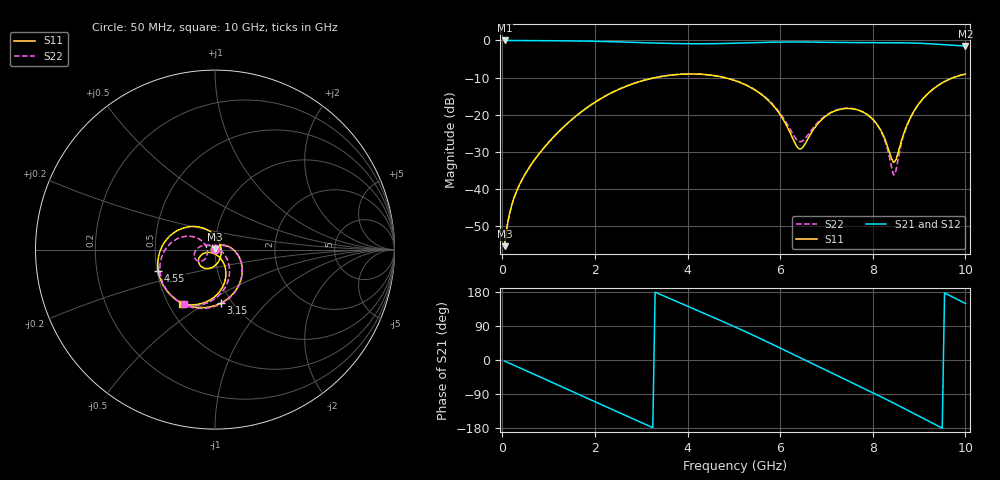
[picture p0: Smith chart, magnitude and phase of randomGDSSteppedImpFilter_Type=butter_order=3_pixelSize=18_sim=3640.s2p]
! freq	dB(S11)	phase(S11)	dB(S12)	phase(S12)
!  dB(S21)	phase(S21)	dB(S22)	phase(S22)
!S-par simulation data
#  GHz  S  DB  R 50
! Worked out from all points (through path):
!   200 points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, 50 MHz to 10 GHz, reference 50 ohm
!   highest |S21| = -0.01 dB at 50 MHz (marker M1); lowest = -1.5 dB at 10 GHz (marker M2)
!   group delay of S21, straight-line fit = 157 ps
!   lowest |S11| = -55.4 dB at 50 MHz (marker M3), VSWR 1.00, Z = 50.1 + j0.155 ohm
!   |S11| at or under -10 dB: start of sweep to 3.312 GHz; 4.791 GHz to 9.743 GHz (4.952 GHz wide, 68.1 % of centre)
!   |S22| runs from -55.3 to -9.0 dB; largest |S21 - S12| = 0
!   S11 on the Smith chart (normalised r, x): 50 MHz: 1.00, +0.00; 3.15 GHz: 0.89, -0.58; 4.55 GHz: 0.51, -0.13; 10 GHz: 0.59, -0.40
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0.05  -55.45 66.6  -0.01 -2.8  -0.01 -2.8  -55.28 68.8
0.2  -44.54 73.7  -0.02 -11.0  -0.02 -11.0  -44.64 72.6
0.5  -35.88 61.6  -0.04 -27.4  -0.04 -27.4  -35.89 60.1
1.15  -25.47 27.7  -0.09 -63.1  -0.09 -63.1  -25.42 25.7
1.75  -18.84 -5.5  -0.17 -96.2  -0.17 -96.2  -18.83 -6.6
2.5  -13.27 -47.7  -0.38 -137.6  -0.38 -137.6  -13.25 -47.5
3.15  -10.45 -83.7  -0.64 -173.0  -0.64 -173.0  -10.44 -82.1
3.4  -9.79 -97.3  -0.74 173.6  -0.74 173.6  -9.78 -95.0
3.95  -9.06 -127.0  -0.88 144.6  -0.88 144.6  -9.04 -122.9
4.55  -9.44 -159.7  -0.87 112.9  -0.87 112.9  -9.41 -152.7
5.05  -10.94 171.6  -0.74 85.9  -0.74 85.9  -10.89 -177.3
5.8  -16.87 121.4  -0.48 43.3  -0.48 43.3  -16.68 150.2
6.4  -29.17 19.4  -0.42 8.0  -0.42 8.0  -27.18 179.7
6.7  -24.38 -64.4  -0.45 -9.7  -0.45 -9.7  -23.77 -139.2
7.15  -19.17 -107.9  -0.52 -36.2  -0.52 -36.2  -19.07 -144.7
7.7  -18.82 -142.7  -0.58 -68.4  -0.58 -68.4  -18.82 -171.8
8.1  -22.75 -160.7  -0.59 -92.2  -0.59 -92.2  -22.89 161.5
8.35  -29.72 -150.6  -0.59 -107.5  -0.59 -107.5  -30.91 127.3
8.45  -32.89 -115.5  -0.60 -113.7  -0.60 -113.7  -36.32 72.1
8.75  -22.44 -56.8  -0.66 -132.5  -0.66 -132.5  -22.68 -33.7
9.2  -14.22 -74.8  -0.88 -161.0  -0.88 -161.0  -14.23 -68.8
10  -9.06 -121.4  -1.51 149.3  -1.51 149.3  -9.06 -119.8
